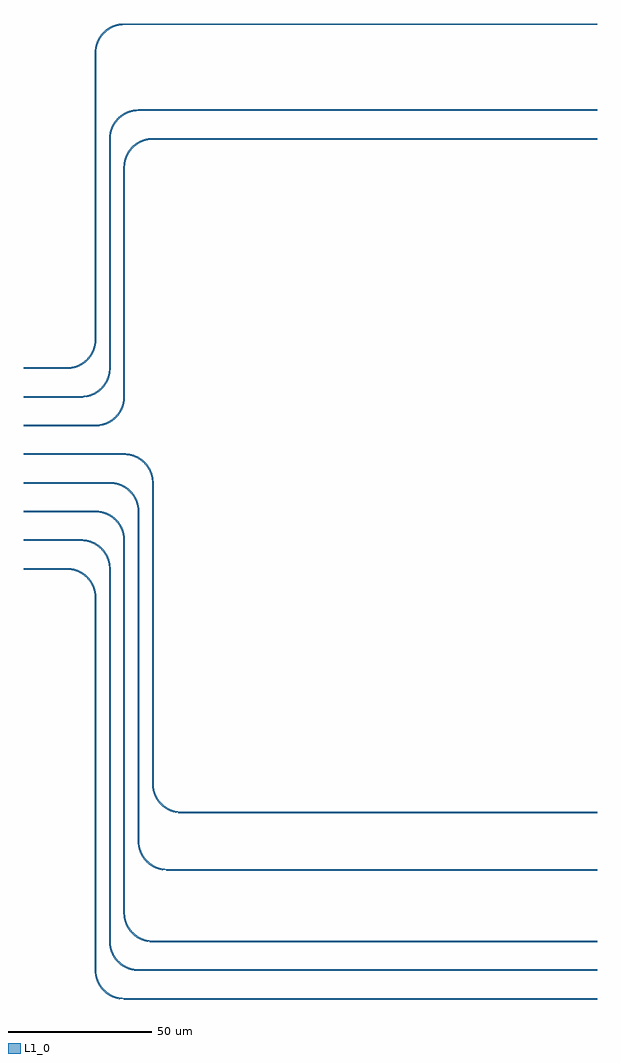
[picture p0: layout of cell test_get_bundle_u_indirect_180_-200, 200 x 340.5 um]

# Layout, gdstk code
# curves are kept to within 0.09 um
from math import pi, radians
import gdstk
lib = gdstk.Library(unit=1e-6, precision=1e-09)
def R(c, l, rs):  # rectangles x0, y0, x1, y1
    for r in rs: c.add(gdstk.rectangle(r[:2], r[2:], *l))
def P(c, l, *ps):  # polygons
    for p in ps: c.add(gdstk.Polygon(p, *l))
L1_0 = (1, 0)

bend_circular_cross_sec_ = lib.new_cell('bend_circular_cross_sec_81c7ebae')
P(bend_circular_cross_sec_, L1_0, [(0,-0.25),(1.967,-0.06),(3.013,0.203),(3.943,0.539),(5.685,1.471),(7.216,2.72),(8.479,4.24),(9.037,5.163),(9.461,6.057),(9.797,6.987),(10.06,8.033),(10.25,10),(9.75,10),(9.687,8.89),(9.516,7.878),(9.185,6.728),(8.79,5.781),(7.968,4.38),(6.924,3.136),(5.62,2.032),(4.219,1.21),(3.272,0.815),(2.122,0.484),(1.11,0.313),(0,0.25)])

straight_cross_sectionc_ = lib.new_cell('straight_cross_sectionc_8cfbbffd')
R(straight_cross_sectionc_, L1_0, [(0,-0.25,165,0.25)])

c_straight_cross_sectionc_ = lib.new_cell('straight_cross_sectionc_cdd31ae6')
R(c_straight_cross_sectionc_, L1_0, [(0,-0.25,130,0.25)])

c_straight_cross_sectionc__ = lib.new_cell('straight_cross_sectionc_ccc8b978')
R(c_straight_cross_sectionc__, L1_0, [(0,-0.25,15,0.25)])

c_straight_cross_sectionc___ = lib.new_cell('straight_cross_sectionc_7df781dc')
R(c_straight_cross_sectionc___, L1_0, [(0,-0.25,160,0.25)])

c_straight_cross_sectionc____ = lib.new_cell('straight_cross_sectionc_7da930e0')
R(c_straight_cross_sectionc____, L1_0, [(0,-0.25,20,0.25)])

c_straight_cross_sectionc_____ = lib.new_cell('straight_cross_sectionc_5d7d4909')
R(c_straight_cross_sectionc_____, L1_0, [(0,-0.25,155,0.25)])

c_straight_cross_sectionc______ = lib.new_cell('straight_cross_sectionc_07ffc600')
R(c_straight_cross_sectionc______, L1_0, [(0,-0.25,25,0.25)])

c_straight_cross_sectionc_______ = lib.new_cell('straight_cross_sectionc_96de08e3')
R(c_straight_cross_sectionc_______, L1_0, [(0,-0.25,150,0.25)])

c_straight_cross_sectionc________ = lib.new_cell('straight_cross_sectionc_4b7cc5cb')
R(c_straight_cross_sectionc________, L1_0, [(0,-0.25,115,0.25)])

c_straight_cross_sectionc_________ = lib.new_cell('straight_cross_sectionc_134885ba')
R(c_straight_cross_sectionc_________, L1_0, [(0,-0.25,30,0.25)])

c_straight_cross_sectionc__________ = lib.new_cell('straight_cross_sectionc_cdcc2d69')
R(c_straight_cross_sectionc__________, L1_0, [(0,-0.25,145,0.25)])

c_straight_cross_sectionc___________ = lib.new_cell('straight_cross_sectionc_6b5082da')
R(c_straight_cross_sectionc___________, L1_0, [(0,-0.25,105,0.25)])

c_straight_cross_sectionc____________ = lib.new_cell('straight_cross_sectionc_91b317bd')
R(c_straight_cross_sectionc____________, L1_0, [(0,-0.25,35,0.25)])

c_straight_cross_sectionc_____________ = lib.new_cell('straight_cross_sectionc_bb7832c5')
R(c_straight_cross_sectionc_____________, L1_0, [(0,-0.25,80,0.25)])

c_straight_cross_sectionc______________ = lib.new_cell('straight_cross_sectionc_438666f5')
R(c_straight_cross_sectionc______________, L1_0, [(0,-0.25,100,0.25)])

test_get_bundle_u_indire = lib.new_cell('test_get_bundle_u_indirect_180_-200')
test_get_bundle_u_indire.add(gdstk.Reference(bend_circular_cross_sec_, (-165,-100), rotation=pi, x_reflection=True))
test_get_bundle_u_indire.add(gdstk.Reference(bend_circular_cross_sec_, (-175,40), rotation=pi/2))
test_get_bundle_u_indire.add(gdstk.Reference(straight_cross_sectionc_, (0,-100), rotation=pi))
test_get_bundle_u_indire.add(gdstk.Reference(c_straight_cross_sectionc_, (-175,-90), rotation=pi/2))
test_get_bundle_u_indire.add(gdstk.Reference(c_straight_cross_sectionc__, (-185,50), rotation=pi))
test_get_bundle_u_indire.add(gdstk.Reference(bend_circular_cross_sec_, (-160,-90), rotation=pi, x_reflection=True))
test_get_bundle_u_indire.add(gdstk.Reference(bend_circular_cross_sec_, (-170,50), rotation=pi/2))
test_get_bundle_u_indire.add(gdstk.Reference(c_straight_cross_sectionc___, (0,-90), rotation=pi))
test_get_bundle_u_indire.add(gdstk.Reference(c_straight_cross_sectionc_, (-170,-80), rotation=pi/2))
test_get_bundle_u_indire.add(gdstk.Reference(c_straight_cross_sectionc____, (-180,60), rotation=pi))
test_get_bundle_u_indire.add(gdstk.Reference(bend_circular_cross_sec_, (-155,-80), rotation=pi, x_reflection=True))
test_get_bundle_u_indire.add(gdstk.Reference(bend_circular_cross_sec_, (-165,60), rotation=pi/2))
test_get_bundle_u_indire.add(gdstk.Reference(c_straight_cross_sectionc_____, (0,-80), rotation=pi))
test_get_bundle_u_indire.add(gdstk.Reference(c_straight_cross_sectionc_, (-165,-70), rotation=pi/2))
test_get_bundle_u_indire.add(gdstk.Reference(c_straight_cross_sectionc______, (-175,70), rotation=pi))
test_get_bundle_u_indire.add(gdstk.Reference(bend_circular_cross_sec_, (-150,-55), rotation=pi, x_reflection=True))
test_get_bundle_u_indire.add(gdstk.Reference(bend_circular_cross_sec_, (-160,70), rotation=pi/2))
test_get_bundle_u_indire.add(gdstk.Reference(c_straight_cross_sectionc_______, (0,-55), rotation=pi))
test_get_bundle_u_indire.add(gdstk.Reference(c_straight_cross_sectionc________, (-160,-45), rotation=pi/2))
test_get_bundle_u_indire.add(gdstk.Reference(c_straight_cross_sectionc_________, (-170,80), rotation=pi))
test_get_bundle_u_indire.add(gdstk.Reference(bend_circular_cross_sec_, (-145,-35), rotation=pi, x_reflection=True))
test_get_bundle_u_indire.add(gdstk.Reference(bend_circular_cross_sec_, (-155,80), rotation=pi/2))
test_get_bundle_u_indire.add(gdstk.Reference(c_straight_cross_sectionc__________, (0,-35), rotation=pi))
test_get_bundle_u_indire.add(gdstk.Reference(c_straight_cross_sectionc___________, (-155,-25), rotation=pi/2))
test_get_bundle_u_indire.add(gdstk.Reference(c_straight_cross_sectionc____________, (-165,90), rotation=pi))
test_get_bundle_u_indire.add(gdstk.Reference(bend_circular_cross_sec_, (-155,200), rotation=pi))
test_get_bundle_u_indire.add(gdstk.Reference(bend_circular_cross_sec_, (-165,110), rotation=3*pi/2, x_reflection=True))
test_get_bundle_u_indire.add(gdstk.Reference(c_straight_cross_sectionc_____, (0,200), rotation=pi))
test_get_bundle_u_indire.add(gdstk.Reference(c_straight_cross_sectionc_____________, (-165,190), rotation=3*pi/2))
test_get_bundle_u_indire.add(gdstk.Reference(c_straight_cross_sectionc______, (-175,100), rotation=pi))
test_get_bundle_u_indire.add(gdstk.Reference(bend_circular_cross_sec_, (-160,210), rotation=pi))
test_get_bundle_u_indire.add(gdstk.Reference(bend_circular_cross_sec_, (-170,120), rotation=3*pi/2, x_reflection=True))
test_get_bundle_u_indire.add(gdstk.Reference(c_straight_cross_sectionc___, (0,210), rotation=pi))
test_get_bundle_u_indire.add(gdstk.Reference(c_straight_cross_sectionc_____________, (-170,200), rotation=3*pi/2))
test_get_bundle_u_indire.add(gdstk.Reference(c_straight_cross_sectionc____, (-180,110), rotation=pi))
test_get_bundle_u_indire.add(gdstk.Reference(bend_circular_cross_sec_, (-165,240), rotation=pi))
test_get_bundle_u_indire.add(gdstk.Reference(bend_circular_cross_sec_, (-175,130), rotation=3*pi/2, x_reflection=True))
test_get_bundle_u_indire.add(gdstk.Reference(straight_cross_sectionc_, (0,240), rotation=pi))
test_get_bundle_u_indire.add(gdstk.Reference(c_straight_cross_sectionc______________, (-175,230), rotation=3*pi/2))
test_get_bundle_u_indire.add(gdstk.Reference(c_straight_cross_sectionc__, (-185,120), rotation=pi))

lib.write_gds('test_get_bundle_u_indirect_180_-200.gds')
